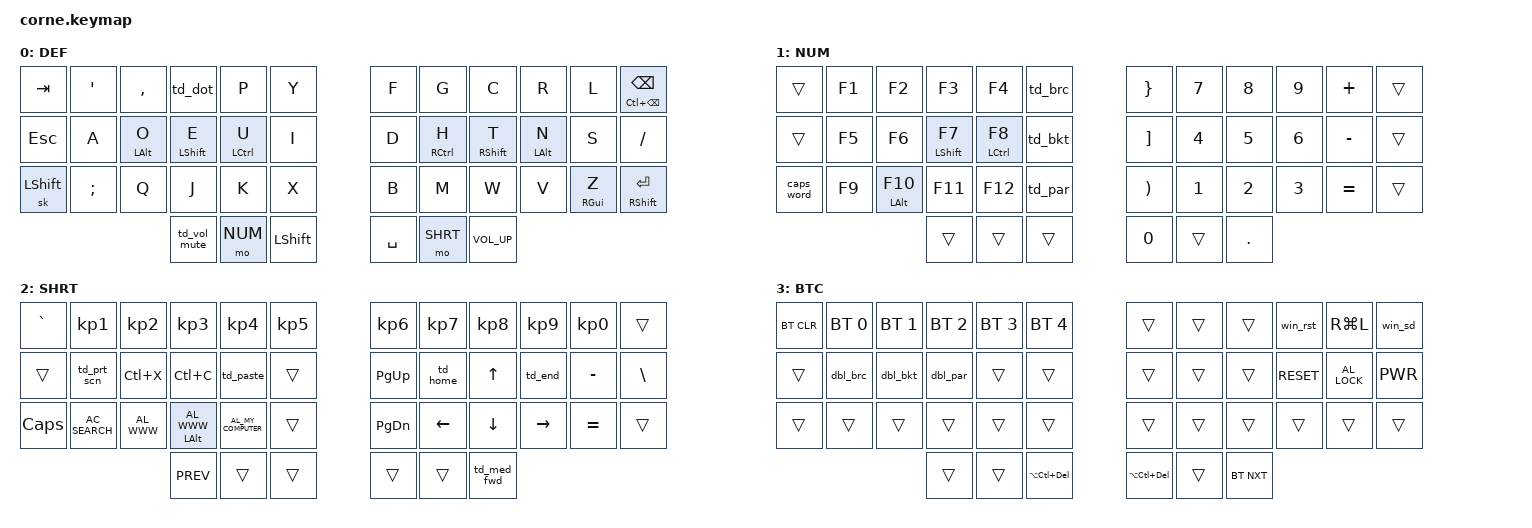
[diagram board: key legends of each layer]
/*
 * Copyright (c) 2020 The ZMK Contributors
 *
 * SPDX-License-Identifier: MIT
 */

#include <behaviors.dtsi>
#include <dt-bindings/zmk/keys.h>
#include <dt-bindings/zmk/bt.h>

#include "includes/hrm_behaviors.dtsi"

#define DEF  0
#define NUM  1
#define SHRT 2
#define BTC  3

#define XXX &none
#define ___ &trans

#define MAKE_TAP(NAME, SINGLE, DOUBLE) \
    ZMK_BEHAVIOR(NAME, tap_dance, \
        tapping-term-ms = <200>; \
        bindings = <SINGLE>, <DOUBLE>; \
    )

ZMK_CONDITIONAL_LAYER(NUM SHRT, BTC)  // NUM + SHRT --> BTC

/ {
    macros {
        ZMK_MACRO(xl_paste,
            wait-ms = <50>;
            tap-ms = <50>;
            bindings = <&kp LA(LC(V)) &kp V &kp ENTER>;
        )
        ZMK_MACRO(win_sd,
            wait-ms = <50>;
            tap-ms = <50>;
            bindings =
                <&kp LG(X)>,
                <&macro_wait_time 200>,
                <&kp U>,
                <&macro_wait_time 200>,
                <&kp U>,
                <&macro_wait_time 200>,
                <&kp U>;
        )
        ZMK_MACRO(win_rst,
            wait-ms = <50>;
            tap-ms = <50>;
            bindings = <&kp LG(X)>;
        )
        ZMK_MACRO(new_sent,
            wait-ms = <50>;
            tap-ms = <50>;
            bindings = <&kp DOT &kp SPACE &sk LEFT_SHIFT>;
        )
        ZMK_MACRO(sym_deg,
            wait-ms = <50>;
            tap-ms = <50>;
            bindings = <&macro_press   &kp LALT>
                     , <&macro_tap     &kp KP_N2 &kp KP_N4 &kp KP_N8>
                     , <&macro_release &kp LALT>;
        )
        ZMK_MACRO(sym_pm,
            wait-ms = <50>;
            tap-ms = <50>;
            bindings = <&macro_press   &kp LALT>
                     , <&macro_tap     &kp KP_N2 &kp KP_N4 &kp KP_N1>
                     , <&macro_release &kp LALT>;
        )
        ZMK_MACRO(txt_name,
            wait-ms = <50>;
            tap-ms = <50>;
            bindings = <&kp LS(T) &kp H &kp A &kp D &kp D &kp E &kp U &kp S>;
        )
        ZMK_MACRO(txt_lstnm,
            wait-ms = <50>;
            tap-ms = <50>;
            bindings = <&kp LS(K) &kp I &kp E &kp D &kp A &kp I &kp S &kp C &kp H>;
        )
        ZMK_MACRO(txt_adrs,
            wait-ms = <50>;
            tap-ms = <50>;
            bindings = <&kp N1 &kp N1 &kp N2 &kp N7 &kp SPACE &kp LS(A) &kp N &kp D &kp R &kp E &kp W &kp S &kp SPACE &kp LS(P) &kp E &kp A &kp K &kp SPACE &kp LS(D) &kp R>;
        )
        ZMK_MACRO(txt_eml,
            wait-ms = <50>;
            tap-ms = <50>;
            bindings = <&kp W &kp I &kp N &kp D &kp E &kp D &kp AT &kp K &kp I &kp E &kp D &kp A &kp I &kp S &kp C &kp H &kp DOT &kp U &kp S>;
        )
        ZMK_MACRO(dbl_brc,
            wait-ms = <50>;
            tap-ms = <50>;
            bindings = <&kp LBRC &kp RBRC &kp LEFT>;
        )
        ZMK_MACRO(dbl_bkt,
            wait-ms = <50>;
            tap-ms = <50>;
            bindings = <&kp LBKT &kp RBKT &kp LEFT>;
        )
       ZMK_MACRO(dbl_par,
            wait-ms = <50>;
            tap-ms = <50>;
            bindings = <&kp LPAR &kp RPAR &kp LEFT>;
        )
    };

    behaviors {
        td_paste: tap_dance_paste {
            compatible = "zmk,behavior-tap-dance";
            label = "TAP_DANCE_PASTE";
            #binding-cells = <0>;
            tapping-term-ms = <200>;
            bindings =
                <&kp LC(V)>,
                <&xl_paste>;
        };
        td_caps: td_caps {
            compatible = "zmk,behavior-tap-dance";
            label = "TAP_DANCE_CAPS";
            #binding-cells = <0>;
            tapping-term-ms = <200>;
            bindings =
                <&sk LSHFT>,
                <&caps_word>;
        };
        td_dot: tap_dance_dot_tap {
            compatible = "zmk,behavior-tap-dance";
            label = "TAP_DANCE_DOT_TAP";
            #binding-cells = <0>;
            tapping-term-ms = <200>;
            bindings =
                <&mt GT DOT>,
                <&new_sent>;
        };
        td_vol_mute: tap_dance_vol_mute {
            compatible = "zmk,behavior-tap-dance";
            label = "TAP_DANCE_VOL_MUTE";
            #binding-cells = <0>;
            tapping-term-ms = <200>;
            bindings =
                <&kp C_VOL_DN>,
                <&kp C_MUTE>;
        };
        td_med_fwd: tap_dance_med_fwd {
            compatible = "zmk,behavior-tap-dance";
            label = "TAP_DANCE_MED_FWD";
            #binding-cells = <0>;
            tapping-term-ms = <200>;
            bindings =
                <&mt RCTRL C_PP>,
                <&kp C_NEXT>;
        };
        td_home: tap_dance_home {
            compatible = "zmk,behavior-tap-dance";
            label = "TAP_DANCE_HOME";
            #binding-cells = <0>;
            tapping-term-ms = <200>;
            bindings =
                <&kp HOME>,
                <&kp LC(HOME)>;
        };
        td_end: tap_dance_end {
            compatible = "zmk,behavior-tap-dance";
            label = "TAP_DANCE_END";
            #binding-cells = <0>;
            tapping-term-ms = <200>;
            bindings =
                <&kp END>,
                <&kp LC(END)>;
        };
        td_prt_scn: tap_dance_prt_scn {
            compatible = "zmk,behavior-tap-dance";
            label = "TAP_DANCE_PRT_SCN";
            #binding-cells = <0>;
            tapping-term-ms = <200>;
            bindings =
                <&kp PSCRN>,
                <&kp LA(PSCRN)>;
        };
        td_brc: tap_dance_brace {
            compatible = "zmk,behavior-tap-dance";
            label = "TAP_DANCE_BRACE";
            #binding-cells = <0>;
            tapping-term-ms = <200>;
            bindings =
                <&kp LBRC>,
                <&dbl_brc>;
        };
        td_bkt: tap_dance_bkt {
            compatible = "zmk,behavior-tap-dance";
            label = "TAP_DANCE_BKT";
            #binding-cells = <0>;
            tapping-term-ms = <200>;
            bindings =
                <&kp LBKT>,
                <&dbl_bkt>;
        };
        td_par: tap_dance_par {
            compatible = "zmk,behavior-tap-dance";
            label = "TAP_DANCE_PAR";
            #binding-cells = <0>;
            tapping-term-ms = <200>;
            bindings =
                <&kp LPAR>,
                <&dbl_par>;
        };
    };

    combos {
        compatible = "zmk,combos";

        cmb_deg {
            timeout-ms = <50>;
            bindings = <&sym_deg>;
            key-positions = <1 2>;
            layers = <0>;
        };

        cmb_pm {
            timeout-ms = <50>;
            bindings = <&sym_pm>;
            key-positions = <10 22>;
            layers = <1>;
        };

        cmb_thad {
            timeout-ms = <50>;
            bindings = <&txt_name>;
            key-positions = <13 22 21>;
            layers = <0>;
        };

        cmb_kied {
            timeout-ms = <50>;
            bindings = <&txt_lstnm>;
            key-positions = <13 22 28>;
            layers = <0>;
        };

        cmb_adrs {
            timeout-ms = <50>;
            bindings = <&txt_adrs>;
            key-positions = <13 22 6>;
            layers = <0>;
        };

        cmb_eml {
            timeout-ms = <50>;
            bindings = <&txt_eml>;
            key-positions = <13 22 32>;
            layers = <0>;
        };
    };

    keymap {
                compatible = "zmk,keymap";

                DEF {
// -----------------------------------------------------------------------------------------
// |  TAB |  Q  |  W  |  E  |  R  |  T  |   |  Y  |  U   |  I  |  O  |  P  | BKSP |
// | CTRL |  A  |  S  |  D  |  F  |  G  |   |  H  |  J   |  K  |  L  |  ;  |  '   |
// | SHFT |  Z  |  X  |  C  |  V  |  B  |   |  N  |  M   |  ,  |  .  |  /  | ESC  |
//                    | GUI | LWR | SPC |   | ENT | RSE  | ALT |
                        bindings = <
  &kp TAB    &kp SQT   &kp COMMA      &td_dot      &kp P        &kp Y      &kp F      &kp G        &kp C           &kp R         &kp L         &mt LC(BSPC) BSPC
  &kp ESC      &kp A  &hml LALT O    &hml LSHFT E  &hml LCTRL U &kp I      &kp D      &hmr RCTRL H &hmr RSHFT T    &hmr LALT N   &kp S         &kp FSLH
&sk LSHFT   &kp SEMI    &kp Q        &kp J         &kp K        &kp X      &kp B      &kp M        &kp W           &kp V         &hmr RGUI Z   &mt RSHFT ENTER
                  &td_vol_mute     &mo NUM      &kp LSHFT  &kp SPACE  &mo SHRT     &kp C_VOL_UP
                        >;
                };
                NUM {
// -----------------------------------------------------------------------------------------
// |  TAB |  1  |  2  |  3  |  4  |  5  |   |  6  |  7  |  8  |  9  |  0  | BKSP |
// | BTCLR| BT1 | BT2 | BT3 | BT4 | BT5 |   | LFT | DWN |  UP | RGT |     |      |
// | SHFT |     |     |     |     |     |   |     |     |     |     |     |      |
//                    | GUI |     | SPC |   | ENT |     | ALT |
                        bindings = <
       ___  &kp F1        &kp F2        &kp F3        &kp F4  &td_brc  &kp RBRC        &kp N7        &kp N8        &kp N9      &kp PLUS       ___
       ___  &kp F5        &kp F6 &hml LSHFT F7 &hml LCTRL F8  &td_bkt  &kp RBKT  &kp NUMBER_4  &kp NUMBER_5  &kp NUMBER_6     &kp MINUS       ___
&caps_word  &kp F9 &hml LALT F10       &kp F11       &kp F12  &td_par  &kp RPAR  &kp NUMBER_1  &kp NUMBER_2  &kp NUMBER_3     &kp EQUAL       ___
                                    ___       ___           ___  &kp NUMBER_0 &trans    &kp DOT
                        >;
                };

                SHRT {
// -----------------------------------------------------------------------------------------
// |  TAB |  !  |  @  |  #  |  $  |  %  |   |  ^  |  &  |  *  |  (  |  )  | BKSP |
// | CTRL |     |     |     |     |     |   |  -  |  =  |  [  |  ]  |  \  |  `   |
// | SHFT |     |     |     |     |     |   |  _  |  +  |  {  |  }  | "|" |  ~   |
//                    | GUI |     | SPC |   | ENT |     | ALT |
                        bindings = <
&kp GRAVE  &kp KP_NUMBER_1  &kp KP_NUMBER_2    &kp KP_NUMBER_3       &kp KP_NUMBER_4  &kp KP_NUMBER_5  &kp KP_NUMBER_6  &kp KP_NUMBER_7  &kp KP_NUMBER_8  &kp KP_NUMBER_9  &kp KP_NUMBER_0       ___
      ___      &td_prt_scn        &kp LC(X)          &kp LC(C)             &td_paste              ___        &kp PG_UP         &td_home           &kp UP          &td_end        &kp MINUS  &kp BSLH
 &kp CAPS  &kp C_AC_SEARCH     &kp C_AL_WWW  &mt LALT C_AL_WWW  &kp C_AL_MY_COMPUTER              ___        &kp PG_DN         &kp LEFT         &kp DOWN        &kp RIGHT        &kp EQUAL       ___
                             &kp C_PREV              ___              ___                ___                   ___              &td_med_fwd
                        >;
                };

                BTC {
// -----------------------------------------------------------------------------------------
// |  TAB |  !  |  @  |  #  |  $  |  %  |   |  ^  |  &  |  *  |  (  |  )  | BKSP |
// | CTRL |     |     |     |     |     |   |  -  |  =  |  [  |  ]  |  \  |  `   |
// | SHFT |     |     |     |     |     |   |  _  |  +  |  {  |  }  | "|" |  ~   |
//                    | GUI |     | SPC |   | ENT |     | ALT |
                        bindings = <
&bt BT_CLR  &bt BT_SEL 0  &bt BT_SEL 1  &bt BT_SEL 2  &bt BT_SEL 3     &bt BT_SEL 4              ___     ___         ___    &win_rst  &kp RG(L)  &win_sd
       ___        &dbl_brc      &dbl_bkt      &dbl_par         ___              ___              ___     ___         ___ &kp C_RESET &kp C_AL_LOCK &kp C_PWR
       ___           ___           ___           ___           ___              ___              ___     ___         ___         ___        ___      ___
                              ___           ___  &kp LA(LC(DEL))  &kp LA(LC(DEL))     ___  &bt BT_NXT
                        >;
                };
        };
};
